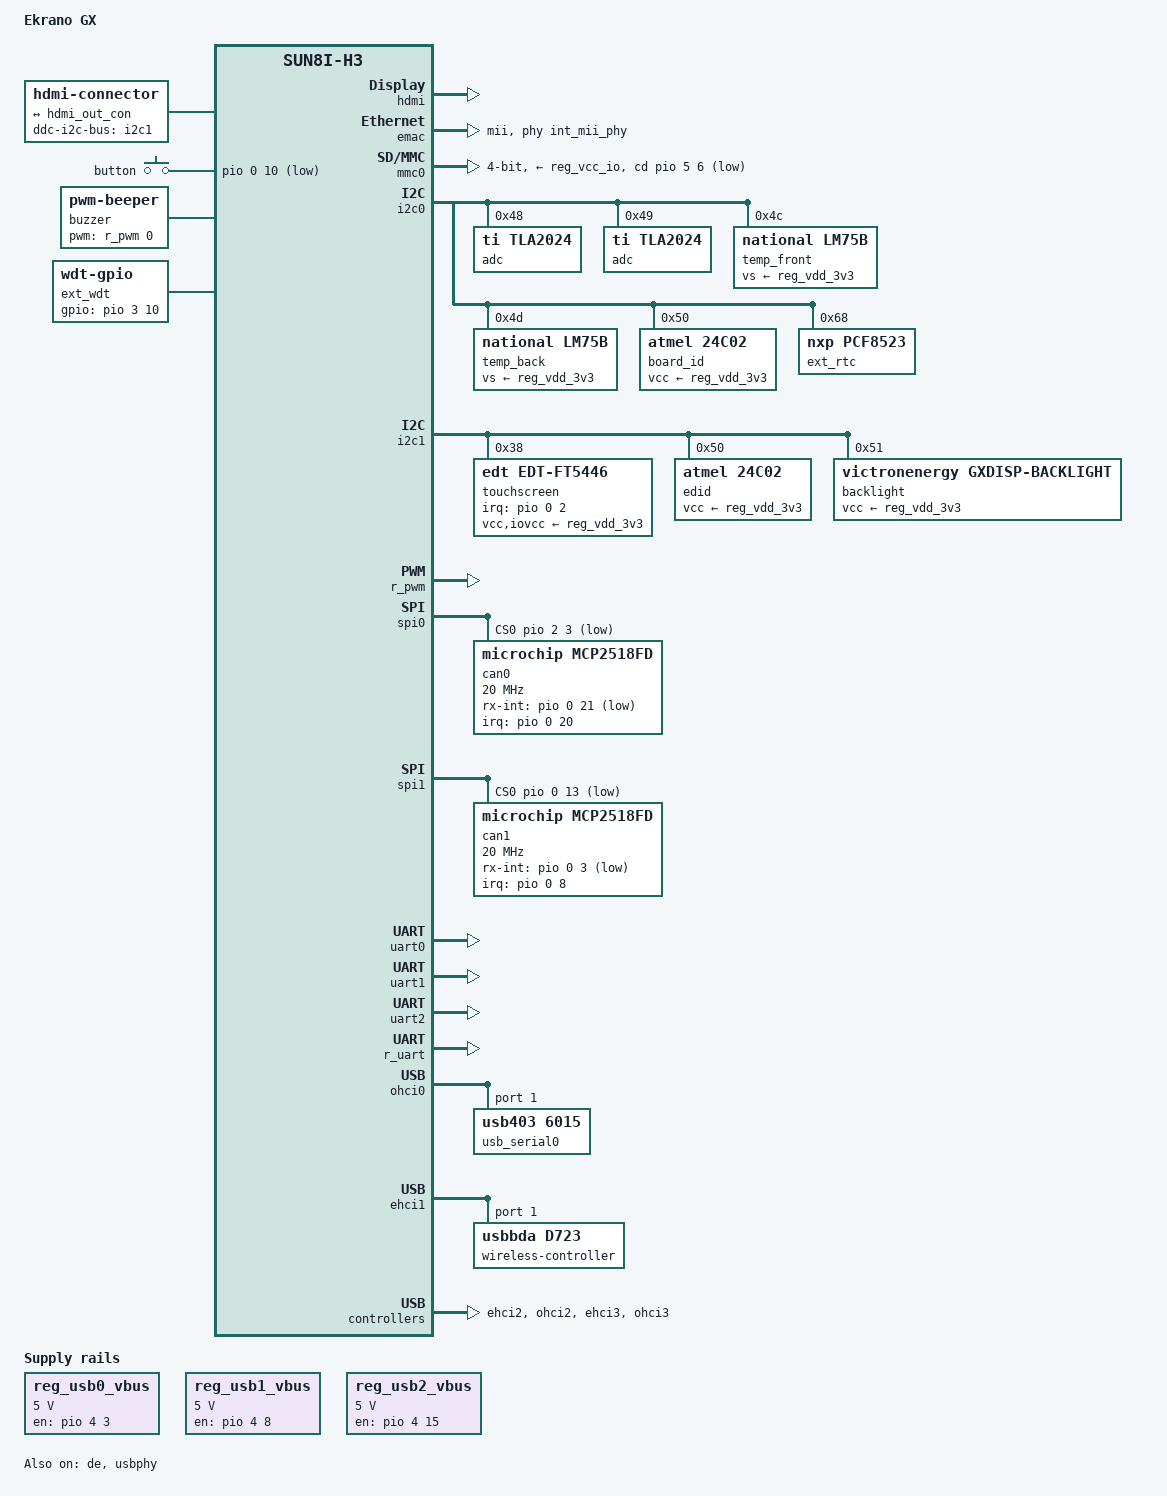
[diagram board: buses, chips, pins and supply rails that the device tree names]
// SPDX-License-Identifier: GPL-2.0 OR X11
/*
 * Copyright (C) 2021 Mans Rullgard <mans@mansr.com>
 */

/dts-v1/;

#include "sun8i-h3-sinh3-core.dtsi"
#include <dt-bindings/input/input.h>

/ {
	model = "Ekrano GX";
	compatible = "victronenergy,ekrano-gx",
		     "sinlinx,sinh3-core",
		     "allwinner,sun8i-h3";

	aliases {
		ethernet0 = &emac;
		hwmon0 = &cpu_thermal;
		hwmon1 = &temp_front;
		hwmon2 = &temp_back;
		i2c0 = &i2c0;
		i2c1 = &i2c1;
		mmc0 = &mmc0;
		mmc1 = &mmc2;
		nvmem0 = &board_id;
		nvmem1 = &edid;
		rtc0 = &ext_rtc;
		rtc1 = &rtc;
		serial0 = &uart0;
		serial1 = &uart1;
		serial2 = &uart2;
		serial3 = &r_uart;
		usb-serial0 = &usb_serial0;
		watchdog0 = &ext_wdt;
		watchdog1 = &wdt0;
	};

	hdmi-connector {
		compatible = "hdmi-connector";
		type = "a";
		ddc-i2c-bus = <&i2c1>;

		port {
			hdmi_con_in: endpoint {
				remote-endpoint = <&hdmi_out_con>;
			};
		};
	};

	button {
		compatible = "gpio-keys";

		button {
			linux,code = <KEY_PAUSE>;
			gpios = <&pio 0 10 GPIO_ACTIVE_LOW>; /* PA10 */
		};
	};

	buzzer {
		compatible = "pwm-beeper";
		pwms = <&r_pwm 0 1000000 0>;
	};

	ext_wdt: watchdog {
		compatible = "linux,wdt-gpio";
		gpios = <&pio 3 10 GPIO_ACTIVE_HIGH>; /* PD10 */
		hw_algo = "toggle";
		hw_margin_ms = <30000>;
		always-running;
	};

	can_clk: can-clk {
		compatible = "fixed-clock";
		#clock-cells = <0>;
		clock-frequency = <40000000>;
	};

	reg_usb0_vbus: usb0-vbus {
		compatible = "regulator-fixed";
		regulator-name = "usb0-vbus";
		regulator-min-microvolt = <5000000>;
		regulator-max-microvolt = <5000000>;
		enable-active-high;
		gpio = <&pio 4 3 GPIO_ACTIVE_HIGH>; /* PE3 */
	};

	reg_usb1_vbus: usb1-vbus {
		compatible = "regulator-fixed";
		regulator-name = "usb1-vbus";
		regulator-min-microvolt = <5000000>;
		regulator-max-microvolt = <5000000>;
		enable-active-high;
		gpio = <&pio 4 8 GPIO_ACTIVE_HIGH>; /* PE8 */
	};

	reg_usb2_vbus: usb2-vbus {
		compatible = "regulator-fixed";
		regulator-name = "usb2-vbus";
		regulator-min-microvolt = <5000000>;
		regulator-max-microvolt = <5000000>;
		enable-active-high;
		gpio = <&pio 4 15 GPIO_ACTIVE_HIGH>; /* PE15 */
	};
};

&de {
	status = "okay";
};

&hdmi {
	status = "okay";
};

&hdmi_out {
	hdmi_out_con: endpoint {
		remote-endpoint = <&hdmi_con_in>;
	};
};

&emac {
	phy-handle = <&int_mii_phy>;
	phy-mode = "mii";
	status = "okay";
};

&mmc0 {
	vmmc-supply = <&reg_vcc_io>;
	bus-width = <4>;
	cd-gpios = <&pio 5 6 GPIO_ACTIVE_LOW>; /* PF6 */
	status = "okay";
};

&i2c0 {
	status = "okay";

	adc@48 {
		compatible = "ti,tla2024";
		reg = <0x48>;
		#address-cells = <1>;
		#size-cells = <0>;

		channel@4 {
			reg = <4>;
		};

		channel@5 {
			reg = <5>;
		};

		channel@6 {
			reg = <6>;
		};
	};

	adc@49 {
		compatible = "ti,tla2024";
		reg = <0x49>;
		#address-cells = <1>;
		#size-cells = <0>;

		channel@4 {
			reg = <4>;
		};

		channel@6 {
			reg = <6>;
		};

		channel@7 {
			reg = <7>;
		};
	};

	temp_front: sensor@4c {
		compatible = "national,lm75b";
		reg = <0x4c>;
		vs-supply = <&reg_vdd_3v3>;
	};

	temp_back: sensor@4d {
		compatible = "national,lm75b";
		reg = <0x4d>;
		vs-supply = <&reg_vdd_3v3>;
	};

	board_id: eeprom@50 {
		compatible = "atmel,24c02";
		reg = <0x50>;
		pagesize = <16>;
		read-only;
		vcc-supply = <&reg_vdd_3v3>;
	};

	ext_rtc: rtc@68 {
		compatible = "nxp,pcf8523";
		status = "okay";
		reg = <0x68>;
	};
};

&i2c1 {
	status = "okay";

	touchscreen@38 {
		compatible = "edt,edt-ft5446", "edt,edt-ft5406";
		reg = <0x38>;
		interrupt-parent = <&pio>;
		interrupts = <0 2 IRQ_TYPE_EDGE_FALLING>;
		vcc-supply = <&reg_vdd_3v3>;
		iovcc-supply = <&reg_vdd_3v3>;
	};

	edid: eeprom@50 {
		compatible = "atmel,24c02";
		reg = <0x50>;
		pagesize = <16>;
		read-only;
		vcc-supply = <&reg_vdd_3v3>;
	};

	backlight@51 {
		compatible = "victronenergy,gxdisp-backlight";
		reg = <0x51>;
		default-on;
		default-brightness = <15>;
		vcc-supply = <&reg_vdd_3v3>;
	};
};

&r_pwm {
	status = "okay";
};

&spi0 {
	status = "okay";

	assigned-clocks = <&ccu CLK_SPI0>;
	assigned-clock-rates = <600000000>;
	cs-gpios = <&pio 2 3 GPIO_ACTIVE_LOW>;

	can0: can@0 {
		compatible = "microchip,mcp2518fd";
		reg = <0>;
		spi-max-frequency = <20000000>;
		clocks = <&can_clk>;
		interrupt-parent = <&pio>;
		interrupts = <0 20 IRQ_TYPE_LEVEL_LOW>; /* PA20 */
		microchip,rx-int-gpios = <&pio 0 21 GPIO_ACTIVE_LOW>; /* PA21 */
	};
};

&spi0_pins {
	pins = "PC0", "PC1", "PC2";
};

&spi1 {
	status = "okay";

	assigned-clocks = <&ccu CLK_SPI1>;
	assigned-clock-rates = <600000000>;
	cs-gpios = <&pio 0 13 GPIO_ACTIVE_LOW>;

	can1: can@0 {
		compatible = "microchip,mcp2518fd";
		reg = <0>;
		spi-max-frequency = <20000000>;
		clocks = <&can_clk>;
		interrupt-parent = <&pio>;
		interrupts = <0 8 IRQ_TYPE_LEVEL_LOW>; /* PA8 */
		microchip,rx-int-gpios = <&pio 0 3 GPIO_ACTIVE_LOW>; /* PA3 */
	};
};

&spi1_pins {
	pins = "PA15", "PA16", "PA14";
};

&uart0 {
	pinctrl-names = "default";
	pinctrl-0 = <&uart0_pa_pins>;
	status = "okay";
};

&uart1 {
	pinctrl-names = "default";
	pinctrl-0 = <&uart1_pins>;
	status = "okay";
};

&uart2 {
	pinctrl-names = "default";
	pinctrl-0 = <&uart2_pins>;
	status = "okay";
};

&r_uart {
	status = "okay";
};

&ohci0 {
	status = "okay";

	#address-cells = <1>;
	#size-cells = <0>;

	usb_serial0: usb-serial@1 {
		compatible = "usb403,6015";
		reg = <1>;
	};
};

&ehci1 {
	status = "okay";

	#address-cells = <1>;
	#size-cells = <0>;

	wireless-controller@1 {
		compatible = "usbbda,d723";
		reg = <1>;
	};
};

&ehci2 {
	status = "okay";
};

&ohci2 {
	status = "okay";
};

&ehci3 {
	status = "okay";
};

&ohci3 {
	status = "okay";
};

&usbphy {
	usb0_vbus-supply = <&reg_usb0_vbus>;
	usb1_vbus-supply = <&reg_usb1_vbus>;
	usb2_vbus-supply = <&reg_usb2_vbus>;
	usb3_vbus-supply = <&reg_usb2_vbus>;
	status = "okay";
};

&pio {
	gpio-line-names =
		"relay_1",
		"relay_2",
		"digital_input_1",
		"digital_input_2",
		"digital_output_1",
		"digital_output_2",
		"mkx_rst",
		"vebus_standby";
	gpio-line-numbers =
		<110>,		/* PD14 */
		<107>,		/* PD11 */
		<197>,		/* PG5 */
		<196>,		/* PG4 */
		<113>,		/* PD17 */
		<112>,		/* PD16 */
		<111>,		/* PD15 */
		<109>;		/* PD13 */
};
